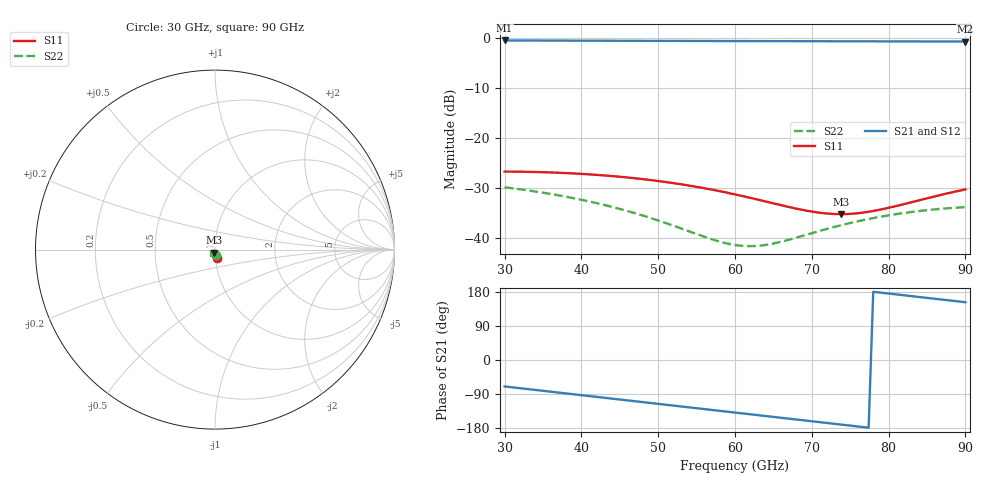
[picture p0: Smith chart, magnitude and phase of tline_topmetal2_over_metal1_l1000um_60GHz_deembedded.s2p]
! Created with skrf 2.0.1 (http://scikit-rf.org).
# GHz S DB R 50.0
!freq dBS11 angS11 dBS21 angS21 dBS12 angS12 dBS22 angS22
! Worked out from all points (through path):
!   101 points, 30 GHz to 90 GHz, reference 50 ohm
!   highest |S21| = -0.46 dB at 30 GHz (marker M1); lowest = -0.7 dB at 90 GHz (marker M2)
!   group delay of S21, straight-line fit = 6.38 ps
!   lowest |S11| = -35.2 dB at 73.8 GHz (marker M3), VSWR 1.04, Z = 49.6 - j1.69 ohm
!   |S11| at or under -10 dB: start of sweep to end of sweep
!   |S22| runs from -41.6 to -29.8 dB; largest |S21 - S12| = 1.1e-14
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30  -26.66 -74.8  -0.46 -69.8  -0.46 -69.8  -29.80 -77.6
33  -26.71 -82.1  -0.48 -76.7  -0.48 -76.7  -30.41 -85.9
35.4  -26.80 -87.7  -0.49 -82.2  -0.49 -82.2  -30.98 -92.2
37.8  -26.95 -93.0  -0.50 -87.7  -0.50 -87.7  -31.62 -98.3
40.2  -27.14 -98.1  -0.51 -93.2  -0.51 -93.2  -32.36 -104.0
45  -27.70 -107.4  -0.53 -104.3  -0.53 -104.3  -34.12 -114.0
47.4  -28.07 -111.6  -0.54 -109.8  -0.54 -109.8  -35.17 -117.9
50.4  -28.63 -116.3  -0.55 -116.7  -0.55 -116.7  -36.64 -121.2
53.4  -29.30 -120.2  -0.56 -123.6  -0.56 -123.6  -38.25 -121.9
57  -30.27 -123.7  -0.57 -131.8  -0.57 -131.8  -40.19 -117.5
58.8  -30.83 -124.8  -0.58 -135.9  -0.58 -135.9  -40.96 -112.6
60  -31.22 -125.3  -0.58 -138.7  -0.58 -138.7  -41.33 -108.5
61.8  -31.84 -125.4  -0.59 -142.8  -0.59 -142.8  -41.56 -101.7
64.2  -32.71 -124.3  -0.60 -148.3  -0.60 -148.3  -41.26 -93.1
66.6  -33.59 -121.5  -0.61 -153.8  -0.61 -153.8  -40.45 -87.1
70.2  -34.70 -113.7  -0.62 -162.1  -0.62 -162.1  -38.88 -83.7
72  -35.04 -108.2  -0.62 -166.2  -0.62 -166.2  -38.10 -84.2
73.8  -35.16 -102.0  -0.63 -170.4  -0.63 -170.4  -37.38 -85.7
76.8  -34.83 -92.0  -0.64 -177.3  -0.64 -177.3  -36.32 -89.9
80.4  -33.75 -82.7  -0.65 174.5  -0.65 174.5  -35.30 -96.9
85.2  -31.92 -76.6  -0.66 163.5  -0.66 163.5  -34.33 -108.5
90  -30.22 -75.9  -0.68 152.5  -0.68 152.5  -33.76 -121.6
